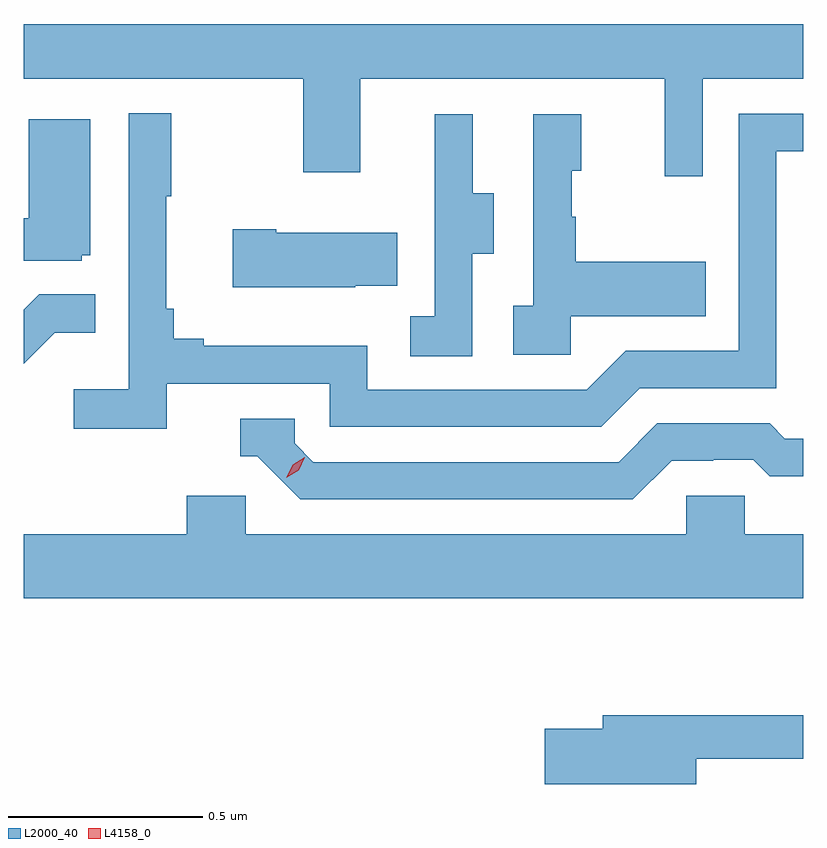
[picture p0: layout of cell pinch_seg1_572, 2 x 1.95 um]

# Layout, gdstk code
import gdstk
lib = gdstk.Library(unit=1e-6, precision=1e-09)
def P(c, l, *ps):  # polygons
    for p in ps: c.add(gdstk.Polygon(p, *l))
L2000_40 = (2000, 40)
L4158_0 = (4158, 0)

pinch_seg1_572 = lib.new_cell('pinch_seg1_572')
P(pinch_seg1_572, L2000_40, [(1038.423,521.096),(1038.681,521.096),(1038.681,521.237),(1036.681,521.237),(1036.681,521.096),(1037.398,521.096),(1037.398,520.857),(1037.545,520.857),(1037.545,521.096),(1038.326,521.096),(1038.326,520.847),(1038.423,520.847)],
  [(1037.048,520.314),(1037.466,520.314),(1037.466,520.203),(1038.163,520.203),(1038.262,520.302),(1038.612,520.302),(1038.612,520.911),(1038.681,520.911),(1038.681,521.007),(1038.516,521.007),(1038.516,520.398),(1038.225,520.398),(1038.126,520.299),(1037.562,520.299),(1037.562,520.411),(1037.143,520.411),(1037.143,520.43),(1037.066,520.43),(1037.066,520.507),(1037.047,520.507),(1037.047,520.795),(1037.059,520.795),(1037.059,521.008),(1036.95,521.008),(1036.95,520.3),(1036.809,520.3),(1036.809,520.198),(1037.048,520.198)],
  [(1038.084,520.487),(1038.431,520.487),(1038.431,520.627),(1038.097,520.627),(1038.097,520.742),(1038.087,520.742),(1038.087,520.86),(1038.112,520.86),(1038.112,521.005),(1037.988,521.005),(1037.988,520.514),(1037.937,520.514),(1037.937,520.389),(1038.084,520.389)],
  [(1037.832,520.648),(1037.887,520.648),(1037.887,520.803),(1037.833,520.803),(1037.833,521.005),(1037.735,521.005),(1037.735,520.791),(1037.736,520.791),(1037.736,520.487),(1037.673,520.487),(1037.673,520.384),(1037.832,520.384)],
  [(1036.83,520.644),(1036.852,520.644),(1036.852,520.993),(1036.694,520.993),(1036.694,520.738),(1036.681,520.738),(1036.681,520.629),(1036.83,520.629)],
  [(1037.531,520.565),(1037.639,520.565),(1037.639,520.702),(1037.329,520.702),(1037.329,520.71),(1037.217,520.71),(1037.217,520.562),(1037.531,520.562)],
  [(1036.761,520.445),(1036.865,520.445),(1036.865,520.544),(1036.721,520.544),(1036.681,520.504),(1036.681,520.365)],
  [(1038.343,520.116),(1038.45,520.116),(1038.45,520.119),(1038.553,520.119),(1038.595,520.077),(1038.681,520.077),(1038.681,520.173),(1038.634,520.173),(1038.595,520.212),(1038.306,520.212),(1038.207,520.113),(1037.424,520.113),(1037.376,520.161),(1037.376,520.224),(1037.237,520.224),(1037.237,520.128),(1037.28,520.128),(1037.391,520.017),(1038.244,520.017)],
  [(1038.681,519.928),(1038.531,519.928),(1038.531,520.026),(1038.381,520.026),(1038.381,519.928),(1037.25,519.928),(1037.25,520.026),(1037.099,520.026),(1037.099,519.928),(1036.681,519.928),(1036.681,519.764),(1038.681,519.764)],
  [(1038.406,519.352),(1038.681,519.352),(1038.681,519.463),(1038.167,519.463),(1038.167,519.429),(1038.018,519.429),(1038.018,519.287),(1038.406,519.287)])
P(pinch_seg1_572, L4158_0, [(1037.355,520.073),(1037.355,520.073),(1037.371,520.106),(1037.402,520.125),(1037.402,520.125),(1037.402,520.125),(1037.386,520.092),(1037.355,520.073)])

lib.write_gds('pinch_seg1_572.gds')
